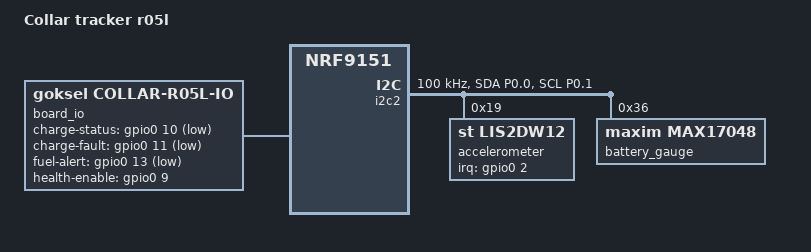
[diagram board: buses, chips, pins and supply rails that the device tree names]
/dts-v1/;
#include <nordic/nrf9151_laca.dtsi>
#include <zephyr/dt-bindings/pinctrl/nrf-pinctrl.h>
#include <zephyr/dt-bindings/gpio/gpio.h>

/ {
	model = "Collar tracker r05l";
	compatible = "goksel,collar-r05l";
	chosen {
		zephyr,sram = &sram0;
		zephyr,flash = &flash0;
	};
	board_io: board-io {
		compatible = "goksel,collar-r05l-io";
		charge-status-gpios = <&gpio0 10 GPIO_ACTIVE_LOW>;
		charge-fault-gpios = <&gpio0 11 GPIO_ACTIVE_LOW>;
		fuel-alert-gpios = <&gpio0 13 GPIO_ACTIVE_LOW>;
		health-enable-gpios = <&gpio0 9 GPIO_ACTIVE_HIGH>;
	};
};

&gpio0 { status = "okay"; };
&gpiote { status = "okay"; };

&pinctrl {
	board_i2c_default: board-i2c-default {
		group1 { psels = <NRF_PSEL(TWIM_SDA, 0, 0)>, <NRF_PSEL(TWIM_SCL, 0, 1)>; };
	};
	board_i2c_sleep: board-i2c-sleep {
		group1 {
			psels = <NRF_PSEL(TWIM_SDA, 0, 0)>, <NRF_PSEL(TWIM_SCL, 0, 1)>;
			low-power-enable;
		};
	};
};

/* Defer pinctrl and all external bus traffic until VIO has settled. */
&i2c2 {
	compatible = "nordic,nrf-twim";
	status = "okay";
	zephyr,deferred-init;
	clock-frequency = <100000>;
	pinctrl-0 = <&board_i2c_default>;
	pinctrl-1 = <&board_i2c_sleep>;
	pinctrl-names = "default", "sleep";
	accelerometer: accelerometer@19 {
		compatible = "st,lis2dw12";
		reg = <0x19>;
		zephyr,deferred-init;
		range = <2>;
		odr = <25>;
		irq-gpios = <&gpio0 2 GPIO_ACTIVE_HIGH>;
	};
	/* The diagnostic reads gauge registers without resetting or calibrating it. */
	battery_gauge: fuel-gauge@36 {
		compatible = "maxim,max17048";
		reg = <0x36>;
		zephyr,deferred-init;
	};
};
